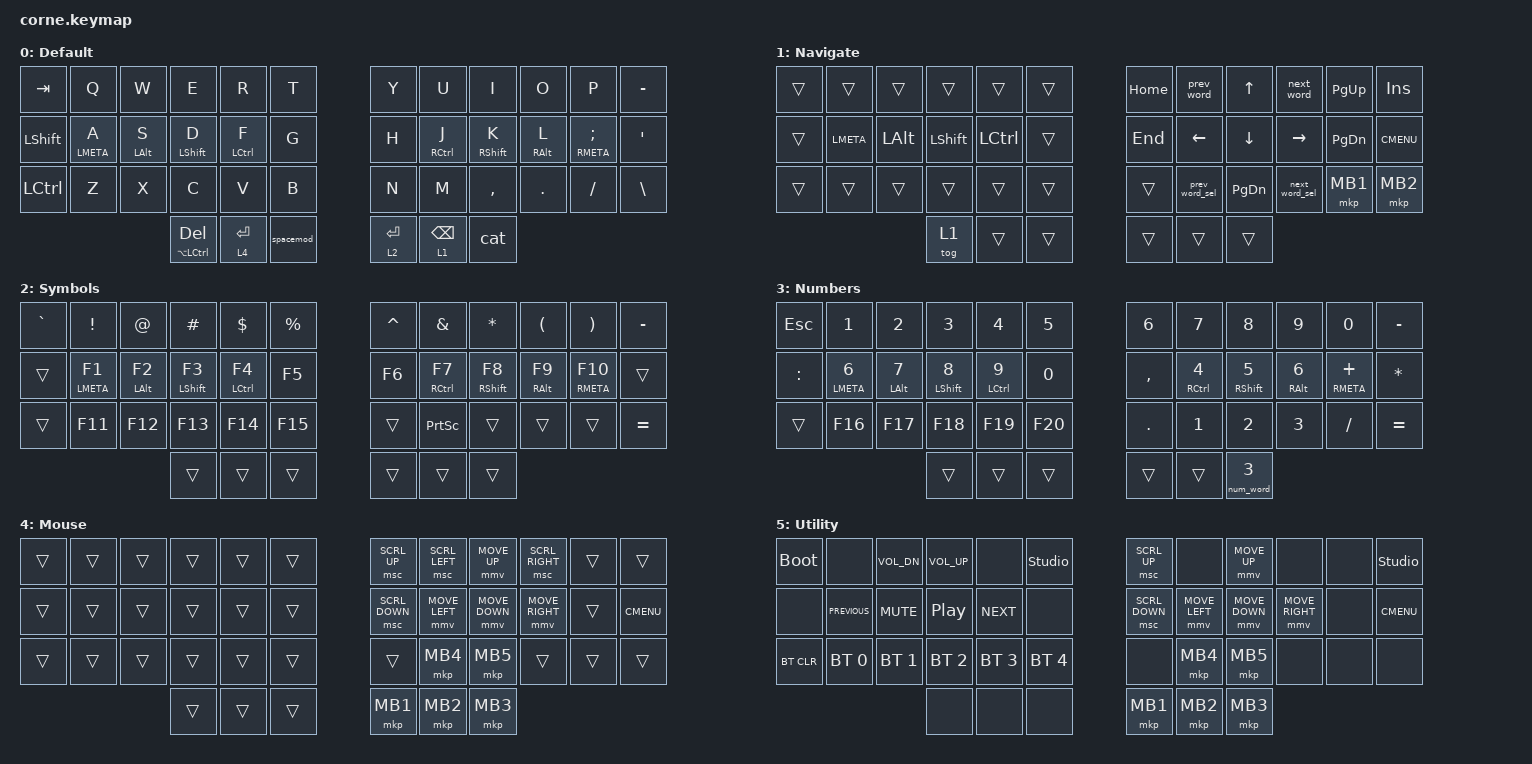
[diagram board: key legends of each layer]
/*
 * Copyright (c) 2020 The ZMK Contributors
 *
 * SPDX-License-Identifier: MIT
 */

// Combos Constants
#define COMBO_TERM_DEFAULT 30
#define COMBO_QUICK_TAP_MS 100

#include <zmk-helpers/key-labels/42.h> // Source key-labels.
#include <behaviors.dtsi>
#include <dt-bindings/zmk/bt.h>
#include <dt-bindings/zmk/keys.h>
#include <behaviors/num_word.dtsi> // requires https://github.com/urob/zmk-auto-layer module
#include "combos.dtsi"
#include "macros.dtsi"
#include "mouse.dtsi"

// Define keys for homerow mods
#define KEYS_L LT0 LT1 LT2 LT3 LT4 LT5 LM0 LM1 LM2 LM3 LM4 LM5 LB0 LB1 LB2 LB3 LB4 LB5  // Left-hand keys.
#define KEYS_R RT0 RT1 RT2 RT3 RT4 RT5 RM0 RM1 RM2 RM3 RM4 RM5 RB0 RB1 RB2 RB3 RB4 RB5  // Right-hand keys.
#define THUMBS LH2 LH1 LH0 RH0 RH1 RH2                                      // Thumb keys.

&sk {
    release-after-ms = <1000>;
    quick-release;
    lazy;
    ignore-modifiers;
};

&lt {
    tapping-term-ms = <200>; // default 200
    flavor = "balanced"; // or hold-preferred or tap-preferred
    quick-tap-ms = <150>;
};

/ {
    behaviors {
        bhm: balanced_homerow_mods {
            compatible = "zmk,behavior-hold-tap";
            #binding-cells = <2>;
            tapping-term-ms = <200>;    // <---[[moderate duration]]
            quick-tap-ms = <0>;
            flavor = "balanced";
            bindings = <&kp>, <&kp>;
        };

        hml: homerow_mods_left {
            compatible = "zmk,behavior-hold-tap";
            #binding-cells = <2>;
            flavor = "balanced";
            tapping-term-ms = <280>;
            quick-tap-ms = <175>;
            require-prior-idle-ms = <150>;
            bindings = <&kp>, <&kp>;
            hold-trigger-key-positions = <KEYS_R THUMBS>;
            hold-trigger-on-release;
        };

        hmr: homerow_mods_right {
            compatible = "zmk,behavior-hold-tap";
            #binding-cells = <2>;
            flavor = "balanced";
            tapping-term-ms = <280>;
            quick-tap-ms = <175>;
            require-prior-idle-ms = <150>;
            bindings = <&kp>, <&kp>;
            hold-trigger-key-positions = <KEYS_L THUMBS>;
            hold-trigger-on-release;
        };

        spacemod: spacemod {
            compatible = "zmk,behavior-mod-morph";
            bindings = <&lt 3 SPACE>, <&sl 2>;
            #binding-cells = <0>;
            mods = <(MOD_RSFT|MOD_LSFT)>;
        };

        nav_word: nav_word {
            compatible = "zmk,behavior-auto-layer";
            #binding-cells = <1>;
            continue-list = <LEFT DOWN UP RIGHT PG_DN PG_UP HOME END>;
            ignore-modifiers;
        };

        /*
        * Tap dancing num layer
        *
        * Usage: &td_num_layer
        * Tap: DEL
        * Hold: NUM layer
        * Double Tap: NUM_WORD layer
        * Triple Tap: NUM layer toggled
        */
        td_num_layer: td_num_layer {
            compatible = "zmk,behavior-tap-dance";
            #binding-cells = <0>;
            tapping-term-ms = <250>;
            bindings = <&lt 3 DEL>, <&num_word 3>;
        };
        cat: ctrl_alt_tap {
            compatible = "zmk,behavior-tap-dance";
            #binding-cells = <0>;
            tapping-term-ms = <250>;
            bindings = <&lt 5 DEL>, <&sk LA(LCTRL)>;
        };
        cah: ctrl_alt_hold {
            compatible = "zmk,behavior-hold-tap";
            #binding-cells = <2>;
            flavor = "hold-preferred";
            tapping-term-ms = <200>;
            bindings = <&sk>, <&kp>;
        };
    };

    keymap {
        compatible = "zmk,keymap";

        default_layer {
            display-name = "Default";
            // -----------------------------------------------------------------------------------------
            // |  TAB |  Q  |  W  |  E  |  R  |  T  |   |  Y  |  U   |  I  |  O  |  P  | BSPC |
            // | CTRL |  A  |  S  |  D  |  F  |  G  |   |  H  |  J   |  K  |  L  |  ;  |  '   |
            // | SHFT |  Z  |  X  |  C  |  V  |  B  |   |  N  |  M   |  ,  |  .  |  /  | ESC  |
            //                    | GUI | LWR | SPC |   | ENT | RSE  | ALT |

            bindings = <

&kp TAB    &kp Q         &kp W            &kp E                &kp R         &kp T        &kp Y      &kp U            &kp I               &kp O             &kp P                 &kp MINUS
&kp LSHFT  &hml LMETA A  &hml LEFT_ALT S  &hml LEFT_SHIFT D    &hml LCTRL F  &kp G        &kp H      &hmr RCTRL J     &hmr RIGHT_SHIFT K  &hmr RIGHT_ALT L  &hmr RMETA SEMICOLON  &kp SQT
&kp LCTRL  &kp Z         &kp X            &kp C                &kp V         &kp B        &kp N      &kp M            &kp COMMA           &kp DOT           &kp FSLH              &kp BACKSLASH
                                          &cah LA(LCTRL) DEL   &lt 4 RET     &spacemod    &lt 2 RET  &lt 1 BACKSPACE  &cat
            >;
        };

        nav_layer {
            display-name = "Navigate";
            bindings = <
&trans   &trans      &trans      &trans          &trans     &trans    &kp HOME   &prev_word       &kp UP_ARROW    &next_word       &kp PAGE_UP     &kp INS
&trans   &kp LMETA   &kp LALT    &kp LEFT_SHIFT  &kp LCTRL  &trans    &kp END    &kp LEFT         &kp DOWN_ARROW  &kp RIGHT        &kp PAGE_DOWN   &kp K_CMENU
&trans   &trans      &trans      &trans          &trans     &trans    &trans     &prev_word_sel   &kp PAGE_DOWN   &next_word_sel   &mkp MB1        &mkp MB2
                                 &tog 1          &trans     &trans    &trans     &trans           &trans
            >;
        };

        symb_layer {
            display-name = "Symbols";
            bindings = <
&kp GRAVE  &kp EXCLAMATION   &kp AT_SIGN    &kp HASH             &kp DOLLAR      &kp PERCENT   &kp CARET   &kp AMPERSAND     &kp ASTERISK          &kp LEFT_PARENTHESIS   &kp RIGHT_PARENTHESIS   &kp MINUS
&trans     &bhm LMETA F1     &bhm LALT F2   &bhm LEFT_SHIFT F3   &bhm LCTRL F4   &kp F5        &kp F6      &bhm RCTRL F7     &bhm RIGHT_SHIFT F8   &bhm RALT F9           &bhm RMETA F10          &trans
&trans     &kp F11           &kp F12        &kp F13              &kp F14         &kp F15       &trans      &kp PRINTSCREEN   &trans                &trans                 &trans                  &kp EQUAL
                                            &trans               &trans          &trans        &trans      &trans            &trans
            >;
        };

        num_layer {
            display-name = "Numbers";
            bindings = <
&kp ESC     &kp N1           &kp N2             &kp N3               &kp N4          &kp N5    &kp N6       &kp N7         &kp N8                &kp N9              &kp N0            &kp MINUS 
&kp COLON   &bhm LMETA N6    &bhm LEFT_ALT N7   &bhm LEFT_SHIFT N8   &bhm LCTRL N9   &kp N0    &kp COMMA    &bhm RCTRL N4  &bhm RIGHT_SHIFT N5   &bhm RIGHT_ALT N6   &bhm RMETA PLUS   &kp ASTERISK
&trans      &kp F16          &kp F17            &kp F18              &kp F19         &kp F20   &kp PERIOD   &kp N1         &kp N2                &kp N3              &kp SLASH         &kp EQUAL
                                                &trans               &trans          &trans    &trans       &trans         &num_word 3
            >;
        };

        mouse_layer {
            display-name = "Mouse";
            bindings = <
&trans       &trans          &trans    &trans    &trans      &trans    &msc SCRL_UP     &msc SCRL_LEFT  &mmv MOVE_UP    &msc SCRL_RIGHT   &trans   &trans
&trans       &trans          &trans    &trans    &trans      &trans    &msc SCRL_DOWN   &mmv MOVE_LEFT  &mmv MOVE_DOWN  &mmv MOVE_RIGHT   &trans   &kp K_CMENU
&trans       &trans          &trans    &trans    &trans      &trans    &trans           &mkp MB4        &mkp MB5        &trans            &trans   &trans
                                       &trans    &trans      &trans    &mkp MB1         &mkp MB2        &mkp MB3
            >;
        };

        kb_utils {
            display-name = "Utility";
            bindings = <
&bootloader  &none           &kp C_VOL_DN  &kp C_VOL_UP      &none         &studio_unlock  &msc SCRL_UP    &none           &mmv MOVE_UP    &none            &none   &studio_unlock
&none        &kp C_PREVIOUS  &kp C_MUTE    &kp C_PLAY_PAUSE  &kp C_NEXT    &none           &msc SCRL_DOWN  &mmv MOVE_LEFT  &mmv MOVE_DOWN  &mmv MOVE_RIGHT  &none   &kp K_CMENU
&bt BT_CLR   &bt BT_SEL 0    &bt BT_SEL 1  &bt BT_SEL 2      &bt BT_SEL 3  &bt BT_SEL 4    &none           &mkp MB4        &mkp MB5        &none            &none   &none
                                           &none             &none         &none           &mkp MB1        &mkp MB2        &mkp MB3
            >;
        };
    };

    conditional_layers { compatible = "zmk,conditional-layers"; };
};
